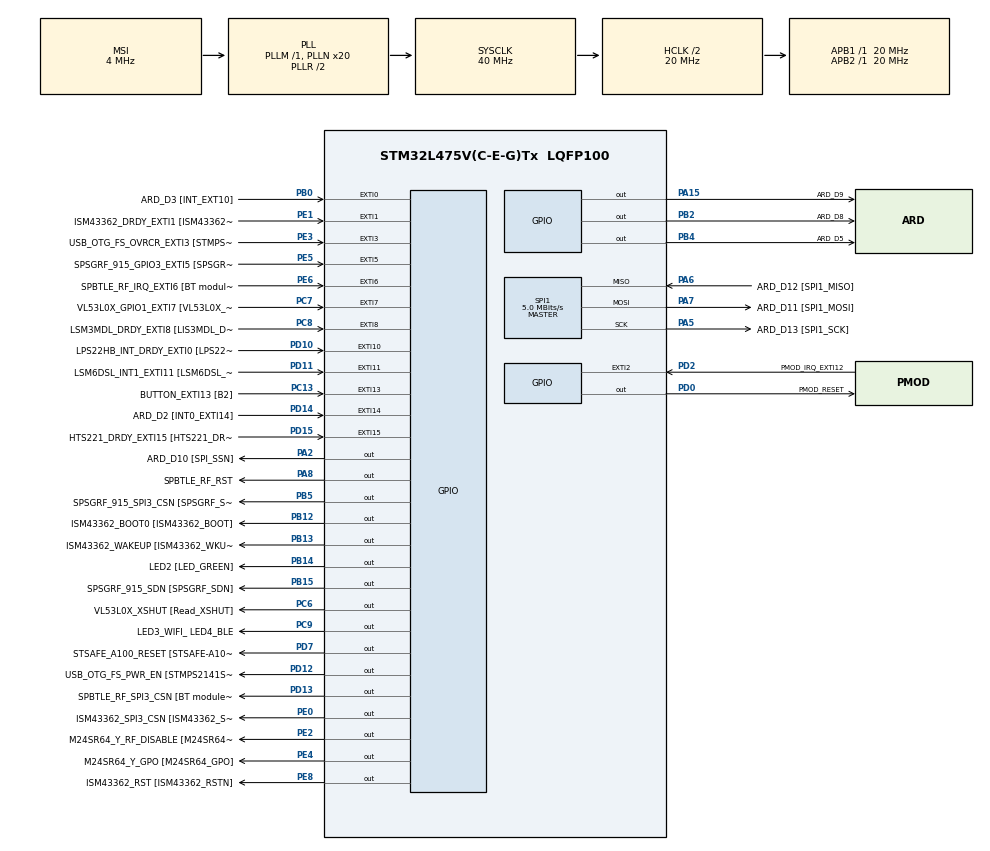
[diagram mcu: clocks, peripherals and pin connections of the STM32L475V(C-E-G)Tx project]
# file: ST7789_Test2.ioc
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Dma.Request0=SPI1_RX
Dma.Request1=SPI1_TX
Dma.SPI1_RX.0.Direction=DMA_PERIPH_TO_MEMORY
Dma.SPI1_RX.0.Instance=DMA1_Channel2
Dma.SPI1_RX.0.MemDataAlignment=DMA_MDATAALIGN_BYTE
Dma.SPI1_RX.0.MemInc=DMA_MINC_ENABLE
Dma.SPI1_RX.0.Mode=DMA_NORMAL
Dma.SPI1_RX.0.PeriphDataAlignment=DMA_PDATAALIGN_BYTE
Dma.SPI1_RX.0.PeriphInc=DMA_PINC_DISABLE
Dma.SPI1_RX.0.Priority=DMA_PRIORITY_HIGH
Dma.SPI1_TX.1.Direction=DMA_MEMORY_TO_PERIPH
Dma.SPI1_TX.1.Instance=DMA1_Channel3
Dma.SPI1_TX.1.MemDataAlignment=DMA_MDATAALIGN_BYTE
Dma.SPI1_TX.1.MemInc=DMA_MINC_ENABLE
Dma.SPI1_TX.1.Mode=DMA_NORMAL
Dma.SPI1_TX.1.PeriphDataAlignment=DMA_PDATAALIGN_BYTE
Dma.SPI1_TX.1.PeriphInc=DMA_PINC_DISABLE
Dma.SPI1_TX.1.Priority=DMA_PRIORITY_LOW
Mcu.Family=STM32L4
Mcu.Name=STM32L475V(C-E-G)Tx
Mcu.Package=LQFP100
NVIC.DMA1_Channel2_IRQn=true\:0\:0\:false\:false\:true\:false\:true\:true
NVIC.DMA1_Channel3_IRQn=true\:0\:0\:false\:false\:true\:false\:true\:true
NVIC.EXTI15_10_IRQn=true\:0\:0\:false\:false\:true\:true\:true\:true
NVIC.EXTI9_5_IRQn=true\:0\:0\:false\:false\:true\:true\:true\:true
NVIC.PriorityGroup=NVIC_PRIORITYGROUP_4
PA0.GPIO_Label=ARD_D1 [UART4_TX]
PA0.Signal=UART4_TX
PA1.GPIO_Label=ARD_D0 [UART4_RX]
PA1.Signal=UART4_RX
PA10.GPIO_Label=USB_OTG_FS_ID
PA10.Signal=USB_OTG_FS_ID
PA11.GPIO_Label=USB_OTG_FS_DM
PA11.Signal=USB_OTG_FS_DM
PA12.GPIO_Label=USB_OTG_FS_DP
PA12.Signal=USB_OTG_FS_DP
PA13\ (JTMS-SWDIO).GPIO_Label=SYS_JTMS_SWDIO
PA13\ (JTMS-SWDIO).Signal=SYS_JTMS-SWDIO
PA14\ (JTCK-SWCLK).GPIO_Label=SYS_JTCK_SWCLK
PA14\ (JTCK-SWCLK).Signal=SYS_JTCK-SWCLK
PA15\ (JTDI).GPIO_Label=ARD_D9
PA15\ (JTDI).GPIO_Speed=GPIO_SPEED_FREQ_HIGH
PA15\ (JTDI).PinState=GPIO_PIN_SET
PA15\ (JTDI).Signal=GPIO_Output
PA2.GPIO_Label=ARD_D10 [SPI_SSN]
PA2.GPIO_Speed=GPIO_SPEED_FREQ_HIGH
PA2.PinState=GPIO_PIN_SET
PA2.Signal=GPIO_Output
PA3.GPIO_Label=ARD_D4
PA3.Signal=S_TIM2_CH4
PA4.GPIO_Label=ARD_D7
PA4.Signal=ADCx_IN9
PA5.GPIO_Label=ARD_D13 [SPI1_SCK]
PA5.Mode=Full_Duplex_Master
PA5.Signal=SPI1_SCK
PA6.GPIO_Label=ARD_D12 [SPI1_MISO]
PA6.Mode=Full_Duplex_Master
PA6.Signal=SPI1_MISO
PA7.GPIO_Label=ARD_D11 [SPI1_MOSI]
PA7.Mode=Full_Duplex_Master
PA7.Signal=SPI1_MOSI
PA8.GPIO_Label=SPBTLE_RF_RST
PA8.Signal=GPIO_Output
PA9.GPIO_Label=USB_OTG_FS_VBUS [STMPS2141STR_OUT]
PA9.Signal=USB_OTG_FS_VBUS
PB0.GPIO_Label=ARD_D3 [INT_EXT10]
PB0.Signal=GPXTI0
PB1.GPIO_Label=ARD_D6 [ADC1_IN6]
PB1.Signal=ADCx_IN16
PB10.GPIO_Label=INTERNAL_I2C2_SCL [VL53L0X_SCL]
PB10.Signal=I2C2_SCL
PB11.GPIO_Label=INTERNAL_I2C2_SDA [VL53L0X_SDA]
PB11.Signal=I2C2_SDA
PB12.GPIO_Label=ISM43362_BOOT0 [ISM43362_BOOT]
PB12.Signal=GPIO_Output
PB13.GPIO_Label=ISM43362_WAKEUP [ISM43362_WKUP]
PB13.Signal=GPIO_Output
PB14.GPIO_Label=LED2 [LED_GREEN]
PB14.Signal=GPIO_Output
PB15.GPIO_Label=SPSGRF_915_SDN [SPSGRF_SDN]
PB15.Signal=GPIO_Output
PB2.GPIO_Label=ARD_D8
PB2.GPIO_Speed=GPIO_SPEED_FREQ_HIGH
PB2.PinState=GPIO_PIN_SET
PB2.Signal=GPIO_Output
PB3\ (JTDO-TRACESWO).GPIO_Label=SYS_JTD0_SWO
PB3\ (JTDO-TRACESWO).Signal=SYS_JTDO-SWO
PB4\ (NJTRST).GPIO_Label=ARD_D5
PB4\ (NJTRST).Signal=GPIO_Output
PB5.GPIO_Label=SPSGRF_915_SPI3_CSN [SPSGRF_SPI_CS]
PB5.PinState=GPIO_PIN_SET
PB5.Signal=GPIO_Output
PB6.GPIO_Label=ST_LINK_UART1_TX
PB6.Signal=USART1_TX
PB7.GPIO_Label=ST_LINK_UART1_RX
PB7.Signal=USART1_RX
PB8.GPIO_Label=ARD_D15 [I2C1_SCL]
PB8.Signal=I2C1_SCL
PB9.GPIO_Label=ARD_D14 [I2C1_SDA]
PB9.Signal=I2C1_SDA
PC0.GPIO_Label=ARD_A5 [ADC]
PC0.Signal=ADCx_IN1
PC1.GPIO_Label=ARD_A4 [ADC]
PC1.Signal=ADCx_IN2
PC10.GPIO_Label=INTERNAL_SPI3_SCK [BT module_SPI_SCLK] [ISM43362_SCK]
PC10.Signal=SPI3_SCK
PC11.GPIO_Label=INTERNAL_SPI3_MISO [BT module_SPI_MISO] [ISM43362_MISO]
PC11.Signal=SPI3_MISO
PC12.GPIO_Label=INTERNAL_SPI3_MOSI [BT module_SPI_MOSI] [ISM43362_MOSI]
PC12.Signal=SPI3_MOSI
PC13.GPIO_Label=BUTTON_EXTI13 [B2]
PC13.GPIO_ModeDefaultEXTI=GPIO_MODE_IT_FALLING
PC13.Signal=GPXTI13
PC14-OSC32_IN\ (PC14).Signal=RCC_OSC32_IN
PC15-OSC32_OUT\ (PC15).Signal=RCC_OSC32_OUT
PC2.GPIO_Label=ARD_A3 [ADC]
PC2.Signal=ADCx_IN3
PC3.GPIO_Label=ARD_A2 [ADC]
PC3.Signal=ADCx_IN4
PC4.GPIO_Label=ARD_A1 [ADC]
PC4.Signal=ADCx_IN13
PC5.GPIO_Label=ARD_A0 [ADC]
PC5.Signal=ADCx_IN14
PC6.GPIO_Label=VL53L0X_XSHUT [Read_XSHUT]
PC6.Signal=GPIO_Output
PC7.GPIO_Label=VL53L0X_GPIO1_EXTI7 [VL53L0X_GPIO1]
PC7.Signal=GPXTI7
PC8.GPIO_Label=LSM3MDL_DRDY_EXTI8 [LIS3MDL_DRDY]
PC8.Signal=GPXTI8
PC9.GPIO_Label=LED3_WIFI_ LED4_BLE
PC9.Signal=GPIO_Output
PD0.GPIO_Label=PMOD_RESET
PD0.Signal=GPIO_Output
PD1.GPIO_Label=PMOD_SPI2_SCK
PD1.Signal=SPI2_SCK
PD10.GPIO_Label=LPS22HB_INT_DRDY_EXTI0 [LPS22HB_INT_DRDY] 
PD10.Signal=GPXTI10
PD11.GPIO_Label=LSM6DSL_INT1_EXTI11 [LSM6DSL_INT1]
PD11.Signal=GPXTI11
PD12.GPIO_Label=USB_OTG_FS_PWR_EN [STMPS2141STR_EN]
PD12.Signal=GPIO_Output
PD13.GPIO_Label=SPBTLE_RF_SPI3_CSN [BT module_SPI_CS]
PD13.PinState=GPIO_PIN_SET
PD13.Signal=GPIO_Output
PD14.GPIO_Label=ARD_D2 [INT0_EXTI14]
PD14.Signal=GPXTI14
PD15.GPIO_Label=HTS221_DRDY_EXTI15 [HTS221_DRDY]
PD15.Signal=GPXTI15
PD2.GPIO_Label=PMOD_IRQ_EXTI12
PD2.Signal=GPXTI2
PD3.GPIO_Label=PMOD_UART2_CTS
PD3.Signal=USART2_CTS
PD4.GPIO_Label=PMOD_UART2_RTS
PD4.Signal=USART2_RTS
PD5.GPIO_Label=PMOD_UART2_TX
PD5.Signal=USART2_TX
PD6.GPIO_Label=PMOD_UART2_RX
PD6.Signal=USART2_RX
PD7.GPIO_Label=STSAFE_A100_RESET [STSAFE-A100_RESET]
PD7.Signal=GPIO_Output
PD8.GPIO_Label=INTERNAL_UART3_TX [ISM43362_RX]
PD8.Signal=USART3_TX
PD9.GPIO_Label=INTERNAL_UART3_RX [ISM43362_TX]
PD9.Signal=USART3_RX
PE0.GPIO_Label=ISM43362_SPI3_CSN [ISM43362_SSN]
PE0.PinState=GPIO_PIN_SET
PE0.Signal=GPIO_Output
PE1.GPIO_Label=ISM43362_DRDY_EXTI1 [ISM43362_DATARDY]
PE1.Signal=GPXTI1
PE10.GPIO_Label=QUADSPI_CLK [MX25R6435F_SCLK]
PE10.Signal=QUADSPI_CLK
PE11.GPIO_Label=QUADSPI_NCS [MX25R6435F_SCLK]
PE11.Signal=QUADSPI_NCS
PE12.GPIO_Label=OQUADSPI_BK1_IO0 [MX25R6435F_IO0]
PE12.Signal=QUADSPI_BK1_IO0
PE13.GPIO_Label=QUADSPI_BK1_IO1 [MX25R6435F_IO1]
PE13.Signal=QUADSPI_BK1_IO1
PE14.GPIO_Label=QUAD_SPI_BK1_IO2 [MX25R6435F_IO2]
PE14.Signal=QUADSPI_BK1_IO2
PE15.GPIO_Label=QUAD_SPI_BK1_IO3 [MX25R6435F_IO3]
PE15.Signal=QUADSPI_BK1_IO3
PE2.GPIO_Label=M24SR64_Y_RF_DISABLE [M24SR64_RFDIS]
PE2.Signal=GPIO_Output
PE3.GPIO_Label=USB_OTG_FS_OVRCR_EXTI3 [STMPS2141STR_FAULT]
PE3.Signal=GPXTI3
PE4.GPIO_Label=M24SR64_Y_GPO [M24SR64_GPO]
PE4.Signal=GPIO_Output
PE5.GPIO_Label=SPSGRF_915_GPIO3_EXTI5 [SPSGRF_GPIO_3]
PE5.Signal=GPXTI5
PE6.GPIO_Label=SPBTLE_RF_IRQ_EXTI6 [BT module_SPI_IRQ]
PE6.Signal=GPXTI6
PE7.GPIO_Label=DFSDM1_DATIN2 [MP34DT01_DOUT]
PE7.Signal=S_DATAIN2DFSDM1
PE8.GPIO_Label=ISM43362_RST [ISM43362_RSTN]
PE8.Signal=GPIO_Output
PE9.GPIO_Label=DFSDM1_CKOUT [MP34DT01_CLK]
PE9.Signal=S_CKOUTDFSDM1
ProjectManager.HeapSize=0x200
ProjectManager.StackSize=0x400
ProjectManager.TargetToolchain=STM32CubeIDE
RCC.ADCFreq_Value=48000000
RCC.AHBCLKDivider=RCC_SYSCLK_DIV2
RCC.AHBFreq_Value=20000000
RCC.APB1Freq_Value=20000000
RCC.APB1TimFreq_Value=20000000
RCC.APB2Freq_Value=20000000
RCC.APB2TimFreq_Value=20000000
RCC.CortexFreq_Value=20000000
RCC.HCLKFreq_Value=20000000
RCC.HSE_VALUE=8000000
RCC.HSI_VALUE=16000000
RCC.LSE_VALUE=32768
RCC.MSI_VALUE=4000000
RCC.PLLN=20
RCC.PLLSAI1N=24
RCC.SYSCLKFreq_VALUE=40000000
RCC.SYSCLKSource=RCC_SYSCLKSOURCE_PLLCLK
RCC.USBFreq_Value=48000000
RCC.VCOOutputFreq_Value=80000000
SH.ADCx_IN1.0=ADC1_IN1
SH.ADCx_IN13.0=ADC1_IN13
SH.ADCx_IN14.0=ADC1_IN14
SH.ADCx_IN16.0=ADC1_IN16
SH.ADCx_IN2.0=ADC1_IN2
SH.ADCx_IN3.0=ADC1_IN3
SH.ADCx_IN4.0=ADC1_IN4
SH.ADCx_IN9.0=ADC1_IN9
SH.S_CKOUTDFSDM1.0=DFSDM1_CKOUT
SH.S_DATAIN2DFSDM1.0=DFSDM1_DATIN2
SH.S_TIM2_CH4.0=TIM2_CH4
SPI1.BaudRatePrescaler=SPI_BAUDRATEPRESCALER_4
SPI1.CLKPolarity=SPI_POLARITY_HIGH
SPI1.CalculateBaudRate=5.0 MBits/s
SPI1.DataSize=SPI_DATASIZE_8BIT
SPI1.Direction=SPI_DIRECTION_2LINES
SPI1.Mode=SPI_MODE_MASTER
SPI1.VirtualType=VM_MASTER
board=B-L475E-IOT01A2

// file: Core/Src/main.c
/* USER CODE BEGIN Header */
/**
  ******************************************************************************
  * @file           : main.c
  * @brief          : Main program body
  ******************************************************************************
  * @attention
  *
  * Copyright (c) 2024 STMicroelectronics.
  * All rights reserved.
  *
  * This software is licensed under terms that can be found in the LICENSE file
  * in the root directory of this software component.
  * If no LICENSE file comes with this software, it is provided AS-IS.
  *
  ******************************************************************************
  */
/* USER CODE END Header */
#include "main.h"
#include "dma.h"
#include "spi.h"
#include "gpio.h"

/* USER CODE BEGIN Includes */
#include "ugui.h"
#include "lcd.h"
/* USER CODE END Includes */

/* USER CODE BEGIN PD */
#define DEFAULT_FONT FONT_32X53
/* USER CODE END PD */

void SystemClock_Config(void);

int main(void)
{

  /* MCU Configuration--------------------------------------------------------*/

  /* Reset of all peripherals, Initializes the Flash interface and the Systick. */
  HAL_Init();

  /* Configure the system clock */
  SystemClock_Config();

  /* Initialize all configured peripherals */
  MX_GPIO_Init();
  MX_DMA_Init();
  MX_SPI1_Init();
  /* USER CODE BEGIN 2 */
  LCD_init();
  /* USER CODE END 2 */

  /* Infinite loop */
  /* USER CODE BEGIN WHILE */
  while (1)
  {
	  UG_FillScreen(C_BLACK);
	  UG_FillFrame(70, 150, 170, 210, C_BLACK);
	  LCD_PutStr(120-32, 150, "80", DEFAULT_FONT, C_WHITE, C_BLACK);
	  UG_DrawDashboard(120, 150, 100, 90, 0, 80, C_YELLOW);
	  HAL_Delay(1000);
	  UG_FillFrame(70, 150, 170, 210, C_BLACK);
	  LCD_PutStr(120-32, 150, "60", DEFAULT_FONT, C_WHITE, C_BLACK);
	  UG_DrawDashboard(120, 150, 100, 90, 80, 60, C_BLACK);
	  HAL_Delay(1000);
	  UG_FillFrame(70, 150, 170, 210, C_BLACK);
	  LCD_PutStr(120-48, 150, "100", DEFAULT_FONT, C_WHITE, C_BLACK);
	  UG_DrawDashboard(120, 150, 100, 90, 60, 100, C_YELLOW);
	  HAL_Delay(1000);
	  UG_FillFrame(70, 150, 170, 210, C_BLACK);
	  LCD_PutStr(120-32, 150, "20", DEFAULT_FONT, C_WHITE, C_BLACK);
	  UG_DrawDashboard(120, 150, 100, 90, 100, 20, C_BLACK);
	  HAL_Delay(1000);
    /* USER CODE END WHILE */

  }
}

void SystemClock_Config(void)
{
  RCC_OscInitTypeDef RCC_OscInitStruct = {0};
  RCC_ClkInitTypeDef RCC_ClkInitStruct = {0};

  /** Configure the main internal regulator output voltage
  */
  if (HAL_PWREx_ControlVoltageScaling(PWR_REGULATOR_VOLTAGE_SCALE1) != HAL_OK)
  {
    Error_Handler();
  }

  /** Initializes the RCC Oscillators according to the specified parameters
  * in the RCC_OscInitTypeDef structure.
  */
  RCC_OscInitStruct.OscillatorType = RCC_OSCILLATORTYPE_MSI;
  RCC_OscInitStruct.MSIState = RCC_MSI_ON;
  RCC_OscInitStruct.MSICalibrationValue = 0;
  RCC_OscInitStruct.MSIClockRange = RCC_MSIRANGE_6;
  RCC_OscInitStruct.PLL.PLLState = RCC_PLL_ON;
  RCC_OscInitStruct.PLL.PLLSource = RCC_PLLSOURCE_MSI;
  RCC_OscInitStruct.PLL.PLLM = 1;
  RCC_OscInitStruct.PLL.PLLN = 20;
  RCC_OscInitStruct.PLL.PLLP = RCC_PLLP_DIV7;
  RCC_OscInitStruct.PLL.PLLQ = RCC_PLLQ_DIV2;
  RCC_OscInitStruct.PLL.PLLR = RCC_PLLR_DIV2;
  if (HAL_RCC_OscConfig(&RCC_OscInitStruct) != HAL_OK)
  {
    Error_Handler();
  }

  /** Initializes the CPU, AHB and APB buses clocks
  */
  RCC_ClkInitStruct.ClockType = RCC_CLOCKTYPE_HCLK|RCC_CLOCKTYPE_SYSCLK
                              |RCC_CLOCKTYPE_PCLK1|RCC_CLOCKTYPE_PCLK2;
  RCC_ClkInitStruct.SYSCLKSource = RCC_SYSCLKSOURCE_PLLCLK;
  RCC_ClkInitStruct.AHBCLKDivider = RCC_SYSCLK_DIV2;
  RCC_ClkInitStruct.APB1CLKDivider = RCC_HCLK_DIV1;
  RCC_ClkInitStruct.APB2CLKDivider = RCC_HCLK_DIV1;

  if (HAL_RCC_ClockConfig(&RCC_ClkInitStruct, FLASH_LATENCY_1) != HAL_OK)
  {
    Error_Handler();
  }
}

void Error_Handler(void)
{
  __disable_irq();
  while (1)
  {
  }
}
